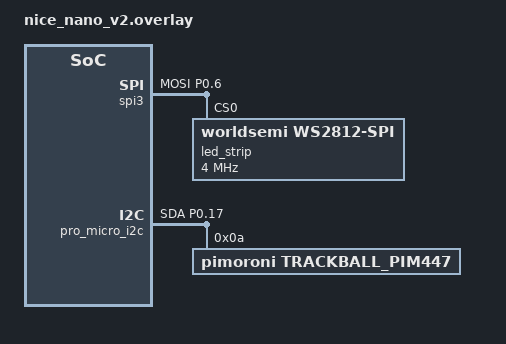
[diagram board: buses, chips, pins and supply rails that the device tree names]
#include <dt-bindings/led/led.h>

&pinctrl {
    spi3_default: spi3_default {
        group1 {
            psels = <NRF_PSEL(SPIM_MOSI, 0, 6)>;
        };
    };

    spi3_sleep: spi3_sleep {
        group1 {
            psels = <NRF_PSEL(SPIM_MOSI, 0, 6)>;
            low-power-enable;
        };
    };

    i2c_default: i2c_default {
        group1 {
            psels = <NRF_PSEL(I2C_SCL, 0, 20)>;
            psels = <NRF_PSEL(I2C_SDA, 0, 17)>;
        };
    };
};

&spi3 {
    compatible = "nordic,nrf-spim";
    status = "okay";

    pinctrl-0 = <&spi3_default>;
    pinctrl-1 = <&spi3_sleep>;
    pinctrl-names = "default", "sleep";

    led_strip: ws2812@0 {
        compatible = "worldsemi,ws2812-spi";

        /* SPI */
        reg = <0>; /* ignored, but necessary for SPI bindings */
        spi-max-frequency = <4000000>;

        /* WS2812 */
        chain-length = <10>; /* arbitrary; change at will */
        spi-one-frame = <0x70>;
        spi-zero-frame = <0x40>;

        color-mapping = <LED_COLOR_ID_GREEN LED_COLOR_ID_RED LED_COLOR_ID_BLUE>;
    };
};

&pro_micro_i2c {
    compatible = "nordic,nrf-i2c";
    status = "okay";
    pinctrl-0 = <&i2c_default>;

    trackball_pim447@a {
        compatible = "pimoroni,trackball_pim447";
        reg = <0x0a>; /* I2C address */
        label = "TRACKBALL_PIM447";
        move-factor = <2>;
        invert-move-x;
        invert-move-y;
        button = <1>;
        swap-axes;
        scroll-divisor = <1>;
        invert-scroll-x;
        invert-scroll-y;
        mode = <PIM447_SCROLL>;
    };
};

/ {
    chosen {
        zmk,underglow = &led_strip;
    };
};
